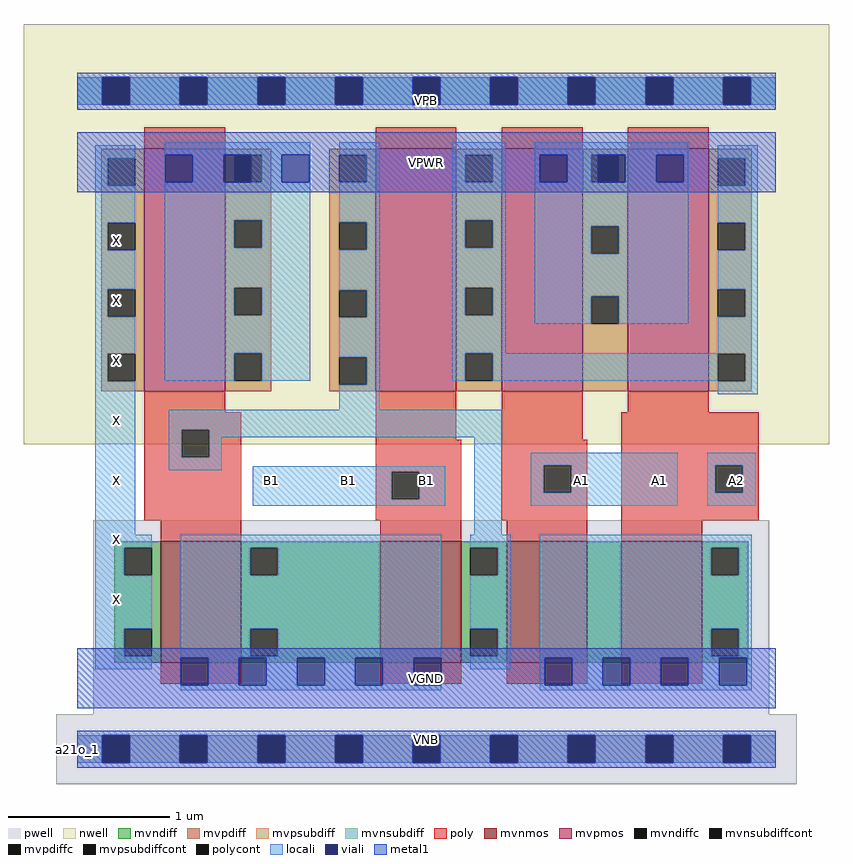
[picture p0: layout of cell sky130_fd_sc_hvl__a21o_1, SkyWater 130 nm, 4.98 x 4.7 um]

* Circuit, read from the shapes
.subckt sky130_fd_sc_hvl__a21o_1 A1 A2 B1 VGND VNB VPB VPWR X
XM1 VGND n1 X VNB sky130_fd_pr__nfet_g5v0d10v5 w=0.75 l=0.5
XM2 n1 B1 VGND VNB sky130_fd_pr__nfet_g5v0d10v5 w=0.75 l=0.5
XM3 n2 A1 n1 VNB sky130_fd_pr__nfet_g5v0d10v5 w=0.75 l=0.5
XM4 VGND A2 n2 VNB sky130_fd_pr__nfet_g5v0d10v5 w=0.75 l=0.5
XM5 VPWR n1 X VPB sky130_fd_pr__pfet_g5v0d10v5 w=1.5 l=0.5
XM6 n3 B1 n1 VPB sky130_fd_pr__pfet_g5v0d10v5 w=1.5 l=0.5
XM7 VPWR A1 n3 VPB sky130_fd_pr__pfet_g5v0d10v5 w=1.5 l=0.5
XM8 n3 A2 VPWR VPB sky130_fd_pr__pfet_g5v0d10v5 w=1.5 l=0.5
.ends

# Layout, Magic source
magic
tech sky130B
magscale 1 2
<< nwell >>
rect -66 377 930 897
<< pwell >>
rect 20 43 856 283
rect -26 -43 890 43
<< mvnmos >>
rect 103 107 203 257
rect 375 107 475 257
rect 531 107 631 257
rect 673 107 773 257
<< mvpmos >>
rect 83 443 183 743
rect 369 443 469 743
rect 525 443 625 743
rect 681 443 781 743
<< mvndiff >>
rect 46 249 103 257
rect 46 215 58 249
rect 92 215 103 249
rect 46 149 103 215
rect 46 115 58 149
rect 92 115 103 149
rect 46 107 103 115
rect 203 249 375 257
rect 203 215 214 249
rect 248 215 375 249
rect 203 149 375 215
rect 203 115 214 149
rect 248 115 375 149
rect 203 107 375 115
rect 475 249 531 257
rect 475 215 486 249
rect 520 215 531 249
rect 475 149 531 215
rect 475 115 486 149
rect 520 115 531 149
rect 475 107 531 115
rect 631 107 673 257
rect 773 249 830 257
rect 773 215 784 249
rect 818 215 830 249
rect 773 149 830 215
rect 773 115 784 149
rect 818 115 830 149
rect 773 107 830 115
<< mvpdiff >>
rect 30 731 83 743
rect 30 697 38 731
rect 72 697 83 731
rect 30 651 83 697
rect 30 617 38 651
rect 72 617 83 651
rect 30 569 83 617
rect 30 535 38 569
rect 72 535 83 569
rect 30 489 83 535
rect 30 455 38 489
rect 72 455 83 489
rect 30 443 83 455
rect 183 735 240 743
rect 183 701 194 735
rect 228 701 240 735
rect 183 654 240 701
rect 183 620 194 654
rect 228 620 240 654
rect 183 571 240 620
rect 183 537 194 571
rect 228 537 240 571
rect 183 490 240 537
rect 183 456 194 490
rect 228 456 240 490
rect 183 443 240 456
rect 312 735 369 743
rect 312 701 324 735
rect 358 701 369 735
rect 312 652 369 701
rect 312 618 324 652
rect 358 618 369 652
rect 312 568 369 618
rect 312 534 324 568
rect 358 534 369 568
rect 312 485 369 534
rect 312 451 324 485
rect 358 451 369 485
rect 312 443 369 451
rect 469 735 525 743
rect 469 701 480 735
rect 514 701 525 735
rect 469 654 525 701
rect 469 620 480 654
rect 514 620 525 654
rect 469 571 525 620
rect 469 537 480 571
rect 514 537 525 571
rect 469 490 525 537
rect 469 456 480 490
rect 514 456 525 490
rect 469 443 525 456
rect 625 735 681 743
rect 625 701 636 735
rect 670 701 681 735
rect 625 647 681 701
rect 625 613 636 647
rect 670 613 681 647
rect 625 560 681 613
rect 625 526 636 560
rect 670 526 681 560
rect 625 443 681 526
rect 781 731 834 743
rect 781 697 792 731
rect 826 697 834 731
rect 781 651 834 697
rect 781 617 792 651
rect 826 617 834 651
rect 781 569 834 617
rect 781 535 792 569
rect 826 535 834 569
rect 781 489 834 535
rect 781 455 792 489
rect 826 455 834 489
rect 781 443 834 455
<< mvndiffc >>
rect 58 215 92 249
rect 58 115 92 149
rect 214 215 248 249
rect 214 115 248 149
rect 486 215 520 249
rect 486 115 520 149
rect 784 215 818 249
rect 784 115 818 149
<< mvpdiffc >>
rect 38 697 72 731
rect 38 617 72 651
rect 38 535 72 569
rect 38 455 72 489
rect 194 701 228 735
rect 194 620 228 654
rect 194 537 228 571
rect 194 456 228 490
rect 324 701 358 735
rect 324 618 358 652
rect 324 534 358 568
rect 324 451 358 485
rect 480 701 514 735
rect 480 620 514 654
rect 480 537 514 571
rect 480 456 514 490
rect 636 701 670 735
rect 636 613 670 647
rect 636 526 670 560
rect 792 697 826 731
rect 792 617 826 651
rect 792 535 826 569
rect 792 455 826 489
<< mvpsubdiff >>
rect 0 -17 31 17
rect 65 -17 127 17
rect 161 -17 223 17
rect 257 -17 319 17
rect 353 -17 415 17
rect 449 -17 511 17
rect 545 -17 607 17
rect 641 -17 703 17
rect 737 -17 799 17
rect 833 -17 864 17
<< mvnsubdiff >>
rect 0 797 31 831
rect 65 797 127 831
rect 161 797 223 831
rect 257 797 319 831
rect 353 797 415 831
rect 449 797 511 831
rect 545 797 607 831
rect 641 797 703 831
rect 737 797 799 831
rect 833 797 864 831
<< mvpsubdiffcont >>
rect 31 -17 65 17
rect 127 -17 161 17
rect 223 -17 257 17
rect 319 -17 353 17
rect 415 -17 449 17
rect 511 -17 545 17
rect 607 -17 641 17
rect 703 -17 737 17
rect 799 -17 833 17
<< mvnsubdiffcont >>
rect 31 797 65 831
rect 127 797 161 831
rect 223 797 257 831
rect 319 797 353 831
rect 415 797 449 831
rect 511 797 545 831
rect 607 797 641 831
rect 703 797 737 831
rect 799 797 833 831
<< poly >>
rect 83 743 183 769
rect 369 743 469 769
rect 525 743 625 769
rect 681 743 781 769
rect 83 417 183 443
rect 83 395 203 417
rect 83 361 129 395
rect 163 361 203 395
rect 83 283 203 361
rect 369 383 469 443
rect 525 383 625 443
rect 681 417 781 443
rect 369 343 475 383
rect 369 309 389 343
rect 423 309 475 343
rect 369 283 475 309
rect 525 351 631 383
rect 525 317 577 351
rect 611 317 631 351
rect 525 283 631 317
rect 103 257 203 283
rect 375 257 475 283
rect 531 257 631 283
rect 673 351 843 417
rect 673 317 789 351
rect 823 317 843 351
rect 673 283 843 317
rect 673 257 773 283
rect 103 81 203 107
rect 375 81 475 107
rect 531 81 631 107
rect 673 81 773 107
<< polycont >>
rect 129 361 163 395
rect 389 309 423 343
rect 577 317 611 351
rect 789 317 823 351
<< locali >>
rect 0 797 31 831
rect 65 797 127 831
rect 161 797 223 831
rect 257 797 319 831
rect 353 797 415 831
rect 449 797 511 831
rect 545 797 607 831
rect 641 797 703 831
rect 737 797 799 831
rect 833 797 864 831
rect 22 731 72 747
rect 22 697 38 731
rect 22 651 72 697
rect 22 617 38 651
rect 22 569 72 617
rect 22 535 38 569
rect 22 489 72 535
rect 22 455 38 489
rect 108 735 288 751
rect 108 701 109 735
rect 143 701 181 735
rect 228 701 253 735
rect 287 701 288 735
rect 108 654 288 701
rect 108 620 194 654
rect 228 620 288 654
rect 108 571 288 620
rect 108 537 194 571
rect 228 537 288 571
rect 108 490 288 537
rect 108 456 194 490
rect 228 456 288 490
rect 324 735 374 751
rect 358 701 374 735
rect 324 652 374 701
rect 358 618 374 652
rect 324 568 374 618
rect 358 534 374 568
rect 324 485 374 534
rect 22 265 72 455
rect 358 451 374 485
rect 464 735 530 751
rect 464 701 480 735
rect 514 701 530 735
rect 464 654 530 701
rect 464 620 480 654
rect 514 620 530 654
rect 464 571 530 620
rect 464 537 480 571
rect 514 537 530 571
rect 464 490 530 537
rect 566 735 756 751
rect 566 701 572 735
rect 606 701 636 735
rect 678 701 716 735
rect 750 701 756 735
rect 566 647 756 701
rect 566 613 636 647
rect 670 613 756 647
rect 566 560 756 613
rect 566 526 636 560
rect 670 526 756 560
rect 792 731 842 747
rect 826 697 842 731
rect 792 651 842 697
rect 826 617 842 651
rect 792 569 842 617
rect 826 535 842 569
rect 792 490 842 535
rect 464 456 480 490
rect 514 489 842 490
rect 514 456 792 489
rect 324 420 374 451
rect 826 455 842 489
rect 792 439 842 455
rect 113 395 525 420
rect 113 361 129 395
rect 163 386 525 395
rect 163 361 179 386
rect 113 345 179 361
rect 217 343 455 350
rect 217 309 389 343
rect 423 309 455 343
rect 217 301 455 309
rect 491 265 525 386
rect 561 351 743 367
rect 561 317 577 351
rect 611 317 743 351
rect 561 301 743 317
rect 779 351 839 367
rect 779 317 789 351
rect 823 317 839 351
rect 779 301 839 317
rect 22 249 92 265
rect 22 215 58 249
rect 22 149 92 215
rect 22 115 58 149
rect 22 99 92 115
rect 128 249 450 265
rect 128 215 214 249
rect 248 215 450 249
rect 128 149 450 215
rect 128 115 214 149
rect 248 115 450 149
rect 128 113 450 115
rect 162 79 200 113
rect 234 79 272 113
rect 306 79 344 113
rect 378 79 416 113
rect 486 249 536 265
rect 520 215 536 249
rect 486 149 536 215
rect 520 115 536 149
rect 486 99 536 115
rect 572 249 834 265
rect 572 215 784 249
rect 818 215 834 249
rect 572 149 834 215
rect 572 115 784 149
rect 818 115 834 149
rect 572 113 834 115
rect 128 73 450 79
rect 572 79 578 113
rect 612 79 650 113
rect 684 79 722 113
rect 756 79 794 113
rect 828 79 834 113
rect 572 73 834 79
rect 0 -17 31 17
rect 65 -17 127 17
rect 161 -17 223 17
rect 257 -17 319 17
rect 353 -17 415 17
rect 449 -17 511 17
rect 545 -17 607 17
rect 641 -17 703 17
rect 737 -17 799 17
rect 833 -17 864 17
<< viali >>
rect 31 797 65 831
rect 127 797 161 831
rect 223 797 257 831
rect 319 797 353 831
rect 415 797 449 831
rect 511 797 545 831
rect 607 797 641 831
rect 703 797 737 831
rect 799 797 833 831
rect 109 701 143 735
rect 181 701 194 735
rect 194 701 215 735
rect 253 701 287 735
rect 572 701 606 735
rect 644 701 670 735
rect 670 701 678 735
rect 716 701 750 735
rect 128 79 162 113
rect 200 79 234 113
rect 272 79 306 113
rect 344 79 378 113
rect 416 79 450 113
rect 578 79 612 113
rect 650 79 684 113
rect 722 79 756 113
rect 794 79 828 113
rect 31 -17 65 17
rect 127 -17 161 17
rect 223 -17 257 17
rect 319 -17 353 17
rect 415 -17 449 17
rect 511 -17 545 17
rect 607 -17 641 17
rect 703 -17 737 17
rect 799 -17 833 17
<< metal1 >>
rect 0 831 864 837
rect 0 797 31 831
rect 65 797 127 831
rect 161 797 223 831
rect 257 797 319 831
rect 353 797 415 831
rect 449 797 511 831
rect 545 797 607 831
rect 641 797 703 831
rect 737 797 799 831
rect 833 797 864 831
rect 0 791 864 797
rect 0 735 864 763
rect 0 701 109 735
rect 143 701 181 735
rect 215 701 253 735
rect 287 701 572 735
rect 606 701 644 735
rect 678 701 716 735
rect 750 701 864 735
rect 0 689 864 701
rect 0 113 864 125
rect 0 79 128 113
rect 162 79 200 113
rect 234 79 272 113
rect 306 79 344 113
rect 378 79 416 113
rect 450 79 578 113
rect 612 79 650 113
rect 684 79 722 113
rect 756 79 794 113
rect 828 79 864 113
rect 0 51 864 79
rect 0 17 864 23
rect 0 -17 31 17
rect 65 -17 127 17
rect 161 -17 223 17
rect 257 -17 319 17
rect 353 -17 415 17
rect 449 -17 511 17
rect 545 -17 607 17
rect 641 -17 703 17
rect 737 -17 799 17
rect 833 -17 864 17
rect 0 -23 864 -17
<< labels >>
rlabel comment s 0 0 0 0 4 a21o_1
flabel metal1 s 0 51 864 125 0 FreeSans 340 0 0 0 VGND
port 4 nsew ground bidirectional
flabel metal1 s 0 0 864 23 0 FreeSans 340 0 0 0 VNB
port 5 nsew ground bidirectional
flabel metal1 s 0 689 864 763 0 FreeSans 340 0 0 0 VPWR
port 7 nsew power bidirectional
flabel metal1 s 0 791 864 814 0 FreeSans 340 0 0 0 VPB
port 6 nsew power bidirectional
flabel locali s 607 316 641 350 0 FreeSans 340 0 0 0 A1
port 1 nsew signal input
flabel locali s 703 316 737 350 0 FreeSans 340 0 0 0 A1
port 1 nsew signal input
flabel locali s 799 316 833 350 0 FreeSans 340 0 0 0 A2
port 2 nsew signal input
flabel locali s 223 316 257 350 0 FreeSans 340 0 0 0 B1
port 3 nsew signal input
flabel locali s 319 316 353 350 0 FreeSans 340 0 0 0 B1
port 3 nsew signal input
flabel locali s 415 316 449 350 0 FreeSans 340 0 0 0 B1
port 3 nsew signal input
flabel locali s 31 168 65 202 0 FreeSans 340 0 0 0 X
port 8 nsew signal output
flabel locali s 31 242 65 276 0 FreeSans 340 0 0 0 X
port 8 nsew signal output
flabel locali s 31 316 65 350 0 FreeSans 340 0 0 0 X
port 8 nsew signal output
flabel locali s 31 390 65 424 0 FreeSans 340 0 0 0 X
port 8 nsew signal output
flabel locali s 31 464 65 498 0 FreeSans 340 0 0 0 X
port 8 nsew signal output
flabel locali s 31 538 65 572 0 FreeSans 340 0 0 0 X
port 8 nsew signal output
flabel locali s 31 612 65 646 0 FreeSans 340 0 0 0 X
port 8 nsew signal output
<< properties >>
string FIXED_BBOX 0 0 864 814
string GDS_END 760356
string GDS_FILE $PDKPATH/libs.ref/sky130_fd_sc_hvl/gds/sky130_fd_sc_hvl.gds
string GDS_START 748722
string LEFclass CORE
string LEFsite unithv
string LEFsymmetry X Y
<< end >>
